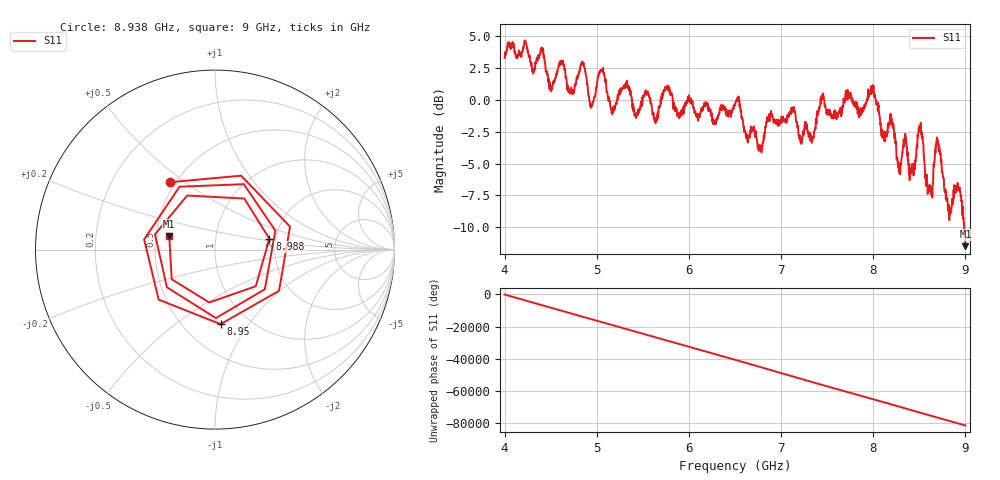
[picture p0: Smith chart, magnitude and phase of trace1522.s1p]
! Created with skrf 1.8.0 (http://scikit-rf.org).
# Hz S RI R 50.0
!freq ReS11 ImS11
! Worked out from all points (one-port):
!   1601 points, 4 GHz to 9 GHz, reference 50 ohm
!   lowest |S11| = -11.5 dB at 9 GHz (marker M1), VSWR 1.72, Z = 29.4 + j4.8 ohm
!   |S11| at or under -10 dB: 8.986432 GHz to end of sweep
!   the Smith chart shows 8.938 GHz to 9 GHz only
!   S11 on the Smith chart (normalised r, x): 8.938 GHz: 0.46, +0.44; 8.95 GHz: 0.74, -0.75; 8.988 GHz: 1.85, +0.25; 9 GHz: 0.59, +0.10
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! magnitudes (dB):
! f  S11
! 4 GHz  3.3
! 4.406 GHz  4.1
! 4.506 GHz  0.7
! 4.625 GHz  2.8
! 4.725 GHz  0.5
! 4.85 GHz  3.0
! 4.944 GHz  -0.5
! 5.047 GHz  2.4
! 5.166 GHz  -1.1
! 5.25 GHz  0.6
! 5.875 GHz  -1.3
! 6.5 GHz  -0.3
! 6.772 GHz  -3.9
! 7.125 GHz  -0.7
! 7.328 GHz  -3.1
! 7.444 GHz  0.0
! 7.75 GHz  0.5
! 7.997 GHz  0.9
! 8.278 GHz  -5.2
! 8.375 GHz  -4.8
! 8.509 GHz  -2.0
! 8.609 GHz  -6.7
! 8.697 GHz  -3.5
! 8.822 GHz  -8.3
! 8.938 GHz  -6.9
! 8.95 GHz  -7.6
! 8.988 GHz  -10.2
! 9 GHz  -11.5
